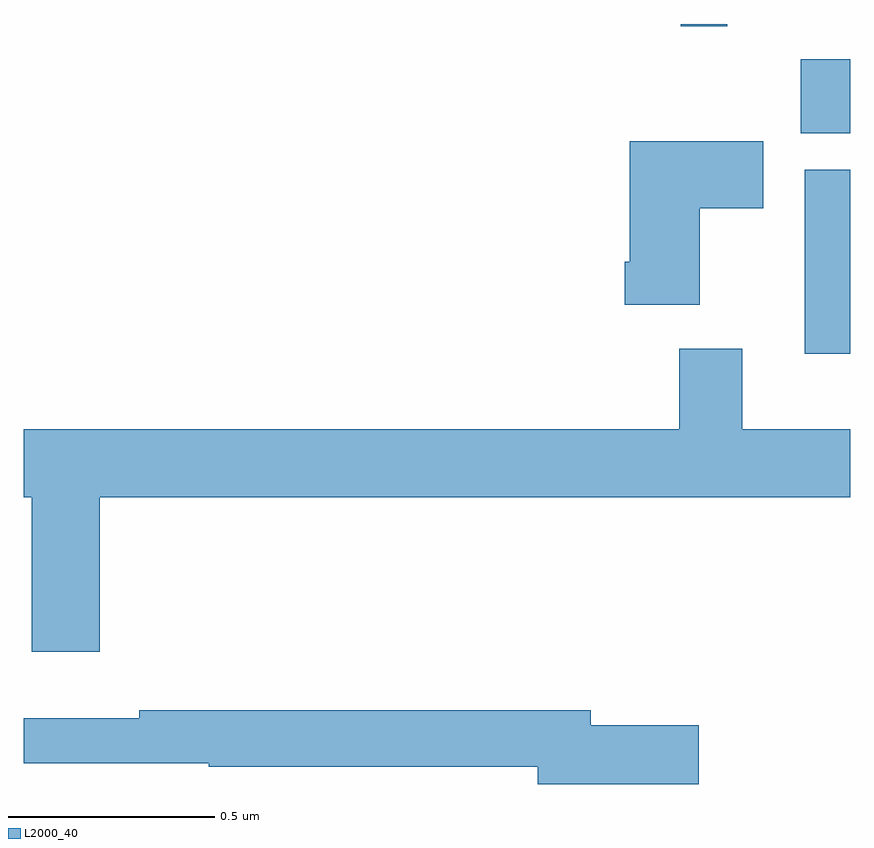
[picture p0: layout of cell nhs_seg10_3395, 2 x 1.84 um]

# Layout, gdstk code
import gdstk
lib = gdstk.Library(unit=1e-6, precision=1e-09)
def R(c, l, rs):  # rectangles x0, y0, x1, y1
    for r in rs: c.add(gdstk.rectangle(r[:2], r[2:], *l))
def P(c, l, *ps):  # polygons
    for p in ps: c.add(gdstk.Polygon(p, *l))
L2000_40 = (2000, 40)

nhs_seg10_3395 = lib.new_cell('nhs_seg10_3395')
R(nhs_seg10_3395, L2000_40, [(154.889,1260.702,155,1261.147), (154.88,1261.236,155,1261.415), (154.59,1261.495,154.702,1261.5)])
P(nhs_seg10_3395, L2000_40, [(154.636,1261.054),(154.789,1261.054),(154.789,1261.216),(154.466,1261.216),(154.466,1260.925),(154.454,1260.925),(154.454,1260.821),(154.636,1260.821)],
  [(153.184,1260.356),(155,1260.356),(155,1260.52),(154.738,1260.52),(154.738,1260.715),(154.586,1260.715),(154.586,1260.52),(153,1260.52),(153,1260.356),(153.02,1260.356),(153.02,1259.982),(153.184,1259.982)],
  [(154.633,1259.804),(154.372,1259.804),(154.372,1259.84),(153.28,1259.84),(153.28,1259.821),(153,1259.821),(153,1259.712),(153.448,1259.712),(153.448,1259.704),(154.244,1259.704),(154.244,1259.662),(154.633,1259.662)])

lib.write_gds('nhs_seg10_3395.gds')
